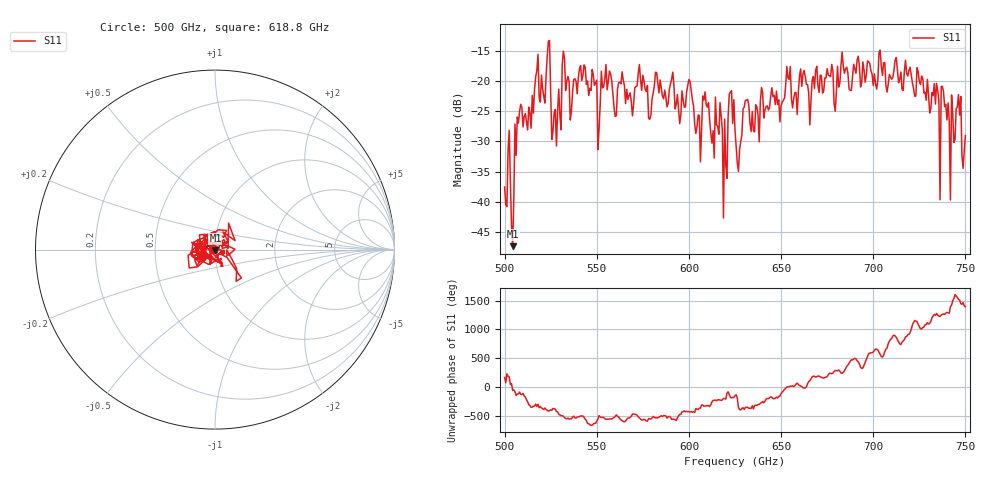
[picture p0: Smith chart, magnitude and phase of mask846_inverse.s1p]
!Created with skrf (http://scikit-rf.org).
# GHz S MA R 50.0
!freq magS11 angS11
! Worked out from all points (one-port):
!   401 points, 500 GHz to 750 GHz, reference 50 ohm
!   lowest |S11| = -47.4 dB at 504.4 GHz (marker M1), VSWR 1.01, Z = 50.2 - j0.367 ohm
!   |S11| at or under -10 dB: start of sweep to end of sweep
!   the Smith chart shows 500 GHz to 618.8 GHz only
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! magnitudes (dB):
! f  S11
! 500 GHz  -37.6
! 504.4 GHz  -47.4
! 508.1 GHz  -25.0
! 523.8 GHz  -13.5
! 526.9 GHz  -25.3
! 531.2 GHz  -17.4
! 548.8 GHz  -20.7
! 550.6 GHz  -31.4
! 562.5 GHz  -20.2
! 593.8 GHz  -22.2
! 600 GHz  -19.8
! 605 GHz  -25.6
! 608.8 GHz  -21.8
! 612.5 GHz  -30.3
! 616.9 GHz  -23.6
! 619.4 GHz  -26.3
! 623.1 GHz  -21.6
! 625 GHz  -28.1
! 626.9 GHz  -35.0
! 630.6 GHz  -23.2
! 656.2 GHz  -24.5
! 687.5 GHz  -21.6
! 718.8 GHz  -19.2
! 735 GHz  -21.7
! 738.1 GHz  -21.8
! 743.1 GHz  -25.5
! 746.2 GHz  -22.3
! 750 GHz  -29.1
